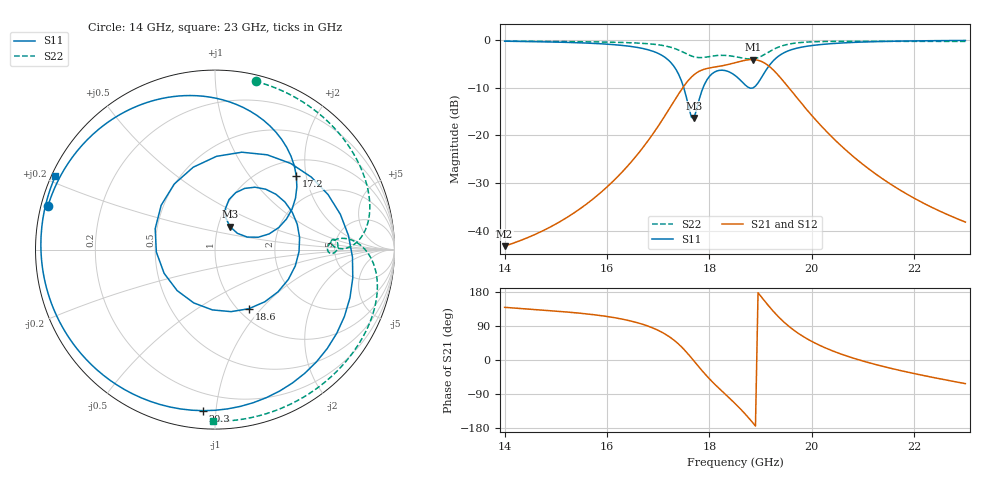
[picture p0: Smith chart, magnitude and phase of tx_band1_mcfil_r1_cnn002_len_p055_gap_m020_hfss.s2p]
! Touchstone file exported from HFSS 3D Layout Design 2026.1.0
!  File:  D:/Work/SIM/ADS_AUTO_SIM/projects/RFSOC_RF/TX_Fillter.aedt
!  Generated:  09:36:28 PM Aug 30, 2026
!  Design:  TX_BAND1_MCFIL_R1_CNN002
!  Project:  TX_Fillter
# GHz S MA R 50.000000
! Terminal data exported
! Port[1] = Port1
! Port[2] = Port2
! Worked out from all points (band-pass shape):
!   181 points, 14 GHz to 23 GHz, reference 50 ohm
!   highest |S21| = -4.17 dB at 18.85 GHz (marker M1); lowest = -43.1 dB at 14 GHz (marker M2)
!   |S21| within 3 dB of the highest: 17.72 GHz to 19.32 GHz (1.602 GHz wide, 8.65 % of centre)
!   lowest |S11| = -16.3 dB at 17.7 GHz (marker M3), VSWR 1.36, Z = 57 + j14.9 ohm
!   |S11| at or under -10 dB: 17.5 GHz to 17.88 GHz (380.9 MHz wide, 2.15 % of centre); 18.77 GHz to 18.86234 GHz (92.34 MHz wide, 0.491 % of centre)
!   |S22| runs from -4.1 to -0.3 dB; largest |S21 - S12| = 9.2e-15
!   S11 on the Smith chart (normalised r, x): 14 GHz: 0.02, +0.13; 17.2 GHz: 1.35, +1.75; 18.6 GHz: 1.12, -0.86; 20.3 GHz: 0.10, -0.92; 23 GHz: 0.01, +0.22
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14  0.9617 165.3  0.007003 139.0  0.007003 139.0  0.9642 76.4
15.5  0.9242 128.0  0.0176 123.1  0.0176 123.1  0.9502 47.1
16.4  0.8571 94.4  0.04779 104.9  0.04779 104.9  0.9293 28.0
17  0.7175 58.8  0.1251 78.2  0.1251 78.2  0.8828 12.9
17.2  0.6105 42.0  0.1835 62.9  0.1835 62.9  0.8435 7.3
17.5  0.3139 16.2  0.3258 28.4  0.3258 28.4  0.7338 0.7
17.7  0.1527 56.9  0.43 -2.8  0.43 -2.8  0.6608 1.6
18.05  0.4394 50.0  0.5115 -56.6  0.5115 -56.6  0.6728 4.6
18.3  0.4761 8.1  0.5398 -89.0  0.5398 -89.0  0.6842 1.0
18.5  0.4228 -33.7  0.573 -114.6  0.573 -114.6  0.6641 -1.5
18.6  0.3797 -60.1  0.5917 -128.2  0.5917 -128.2  0.6484 -1.9
18.85  0.3128 -155.0  0.619 -166.0  0.619 -166.0  0.6286 1.4
19  0.3885 140.5  0.5967 168.9  0.5967 168.9  0.6652 4.5
19.15  0.5197 89.1  0.5357 143.9  0.5357 143.9  0.738 4.7
19.25  0.6029 61.1  0.4806 128.3  0.4806 128.3  0.7899 2.9
19.4  0.7006 25.9  0.3935 107.2  0.3935 107.2  0.8538 -1.4
19.55  0.7669 -3.1  0.3149 89.1  0.3149 89.1  0.8964 -6.5
20  0.8666 -65.6  0.1615 49.0  0.1615 49.0  0.9473 -20.5
20.3  0.8999 -94.2  0.1082 29.9  0.1082 29.9  0.956 -28.6
20.85  0.9363 -131.6  0.05785 3.2  0.05785 3.2  0.9595 -42.0
21.5  0.9591 -161.5  0.03204 -20.5  0.03204 -20.5  0.9589 -56.9
23  0.9792 155.2  0.01249 -62.3  0.01249 -62.3  0.9567 -90.7
